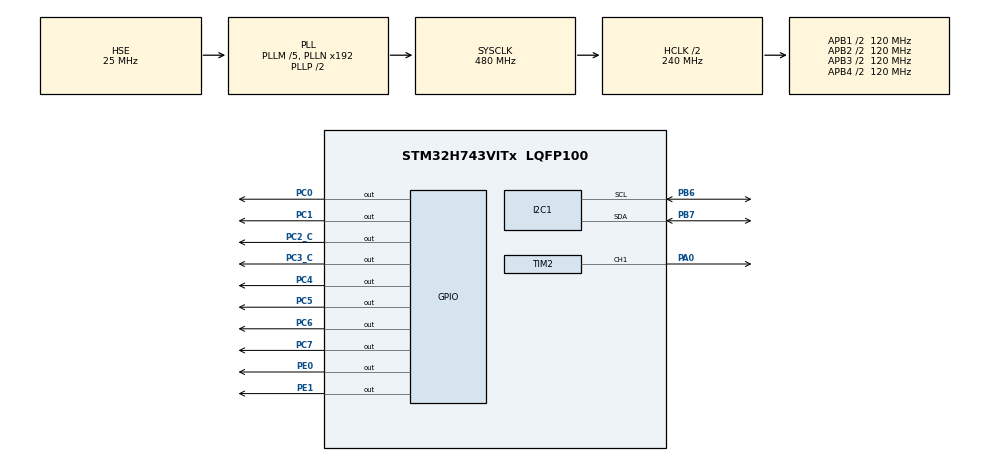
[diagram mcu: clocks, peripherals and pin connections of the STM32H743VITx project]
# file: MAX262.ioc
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CORTEX_M7.default_mode_Activation=1
I2C1.Timing=0x307075B1
Mcu.Family=STM32H7
Mcu.Name=STM32H743VITx
Mcu.Package=LQFP100
NVIC.PriorityGroup=NVIC_PRIORITYGROUP_4
PA0.Signal=S_TIM2_CH1_ETR
PA13\ (JTMS/SWDIO).Mode=Serial_Wire
PA13\ (JTMS/SWDIO).Signal=DEBUG_JTMS-SWDIO
PA14\ (JTCK/SWCLK).Mode=Serial_Wire
PA14\ (JTCK/SWCLK).Signal=DEBUG_JTCK-SWCLK
PB6.GPIO_Pu=GPIO_PULLUP
PB6.GPIO_Speed=GPIO_SPEED_FREQ_VERY_HIGH
PB6.Mode=I2C
PB6.Signal=I2C1_SCL
PB7.GPIO_Pu=GPIO_PULLUP
PB7.GPIO_Speed=GPIO_SPEED_FREQ_VERY_HIGH
PB7.Mode=I2C
PB7.Signal=I2C1_SDA
PC0.GPIO_Speed=GPIO_SPEED_FREQ_HIGH
PC0.Signal=GPIO_Output
PC1.GPIO_Speed=GPIO_SPEED_FREQ_HIGH
PC1.Signal=GPIO_Output
PC14-OSC32_IN\ (OSC32_IN).Mode=LSE-External-Oscillator
PC14-OSC32_IN\ (OSC32_IN).Signal=RCC_OSC32_IN
PC15-OSC32_OUT\ (OSC32_OUT).Mode=LSE-External-Oscillator
PC15-OSC32_OUT\ (OSC32_OUT).Signal=RCC_OSC32_OUT
PC2_C.GPIO_Speed=GPIO_SPEED_FREQ_HIGH
PC2_C.Signal=GPIO_Output
PC3_C.GPIO_Speed=GPIO_SPEED_FREQ_HIGH
PC3_C.Signal=GPIO_Output
PC4.GPIO_Speed=GPIO_SPEED_FREQ_HIGH
PC4.Signal=GPIO_Output
PC5.GPIO_Speed=GPIO_SPEED_FREQ_HIGH
PC5.Signal=GPIO_Output
PC6.GPIO_Speed=GPIO_SPEED_FREQ_HIGH
PC6.Signal=GPIO_Output
PC7.GPIO_Speed=GPIO_SPEED_FREQ_HIGH
PC7.Signal=GPIO_Output
PE0.Signal=GPIO_Output
PE1.Signal=GPIO_Output
PH0-OSC_IN\ (PH0).Mode=HSE-External-Oscillator
PH0-OSC_IN\ (PH0).Signal=RCC_OSC_IN
PH1-OSC_OUT\ (PH1).Mode=HSE-External-Oscillator
PH1-OSC_OUT\ (PH1).Signal=RCC_OSC_OUT
ProjectManager.HeapSize=0x200
ProjectManager.StackSize=0x400
ProjectManager.TargetToolchain=MDK-ARM V5.32
RCC.ADCFreq_Value=50390625
RCC.APB1Freq_Value=120000000
RCC.APB2Freq_Value=120000000
RCC.APB3Freq_Value=120000000
RCC.APB4Freq_Value=120000000
RCC.CortexFreq_Value=480000000
RCC.D1PPRE=RCC_APB3_DIV2
RCC.D2PPRE1=RCC_APB1_DIV2
RCC.D2PPRE2=RCC_APB2_DIV2
RCC.D3PPRE=RCC_APB4_DIV2
RCC.DIVM1=5
RCC.DIVN1=192
RCC.HCLKFreq_Value=240000000
RCC.HPRE=RCC_HCLK_DIV2
RCC.PLL2FRACN=0
RCC.PLL3FRACN=0
RCC.PLLFRACN=0
RCC.PLLSourceVirtual=RCC_PLLSOURCE_HSE
RCC.SYSCLKFreq_VALUE=480000000
RCC.SYSCLKSource=RCC_SYSCLKSOURCE_PLLCLK
RCC.USBFreq_Value=480000000
SH.S_TIM2_CH1_ETR.0=TIM2_CH1,PWM Generation1 CH1
TIM2.AutoReloadPreload=TIM_AUTORELOAD_PRELOAD_ENABLE
TIM2.Channel-PWM\ Generation1\ CH1=TIM_CHANNEL_1
TIM2.Period=1000-1
TIM2.Prescaler=240-1
TIM2.Pulse-PWM\ Generation1\ CH1=500
TIM2.TIM_MasterOutputTrigger=TIM_TRGO_UPDATE
VP_MEMORYMAP_VS_MEMORYMAP.Mode=CurAppReg
VP_TIM2_VS_ClockSourceINT.Mode=Internal
board=custom

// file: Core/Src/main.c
/* USER CODE BEGIN Header */
/**
  ******************************************************************************
  * @file           : main.c
  * @brief          : Main program body
  ******************************************************************************
  * @attention
  *
  * Copyright (c) 2026 STMicroelectronics.
  * All rights reserved.
  *
  * This software is licensed under terms that can be found in the LICENSE file
  * in the root directory of this software component.
  * If no LICENSE file comes with this software, it is provided AS-IS.
  *
  ******************************************************************************
  */
/* USER CODE END Header */
#include "main.h"
#include "i2c.h"
#include "tim.h"
#include "gpio.h"

/* USER CODE BEGIN Includes */
#include "si5351.h"
/* USER CODE END Includes */

/* USER CODE BEGIN PD */
/* SI5351 硬件控制引脚 (OEB/SSEN)
 * OEB  = PE0, 输出使能 (LOW 有效)
 * SSEN = PE1, 扩频使能 (LOW 禁用扩频) */
#define SI5351_OEB_PORT   GPIOE
#define SI5351_OEB_PIN    GPIO_PIN_0
#define SI5351_SSEN_PORT  GPIOE
#define SI5351_SSEN_PIN   GPIO_PIN_1

#define SI5351_OEB_LOW()   HAL_GPIO_WritePin(SI5351_OEB_PORT,  SI5351_OEB_PIN,  GPIO_PIN_RESET)
#define SI5351_SSEN_LOW()  HAL_GPIO_WritePin(SI5351_SSEN_PORT, SI5351_SSEN_PIN, GPIO_PIN_RESET)
/* USER CODE END PD */

/* USER CODE BEGIN PV */

/* I2C 调试变量 — 在此处设断点查看 */
static uint8_t  i2c_found_devices[16];
static uint8_t  i2c_found_count;
static HAL_StatusTypeDef i2c_last_error;
static uint8_t  i2c_tested_addr;

/* SI5351 状态调试变量 */
static uint8_t  si5351_reg00;   /* reg 0x00: [7]=SYS_INIT, [5]=LOL_A, [3:0]=REVID */
static uint8_t  si5351_reg03;   /* reg 0x03: OE 回读 */
static uint8_t  si5351_pll_locked;  /* 1=锁定, 0=失锁 */

/* 寄存器回读验证 (确认 I2C 写入是否真的生效) */
static uint8_t  si5351_r16;     /* CLK0 控制寄存器 (期望值见 _write_clk_ctrl) */
static uint8_t  si5351_r42;     /* MS0_P3[15:8] (期望 0x00) */
static uint8_t  si5351_r43;     /* MS0_P3[7:0]  (期望 0x01) */
static uint8_t  si5351_r44;     /* MS0: R-div|P1[17:16] (期望 0x00) */
static uint8_t  si5351_r45;     /* MS0_P1[15:8] (期望 0x01) */
static uint8_t  si5351_r46;     /* MS0_P1[7:0]  (期望 0x00) */
static uint8_t  si5351_r26;     /* PLLA_P3[15:8] (期望 0x00) */
static uint8_t  si5351_r29;     /* PLLA_P1[15:8] (期望 0x0A) */

/* USER CODE END PV */

void SystemClock_Config(void);
static void MPU_Config(void);
/* USER CODE BEGIN PFP */
static void SI5351_HW_Init(void);
static uint8_t I2C_ScanBus(void);
/* USER CODE END PFP */

int main(void)
{

  /* MPU Configuration--------------------------------------------------------*/
  MPU_Config();

  /* MCU Configuration--------------------------------------------------------*/

  /* Reset of all peripherals, Initializes the Flash interface and the Systick. */
  HAL_Init();

  /* Configure the system clock */
  SystemClock_Config();

  /* Initialize all configured peripherals */
  MX_GPIO_Init();
  MX_TIM2_Init();
  MX_I2C1_Init();
  /* USER CODE BEGIN 2 */

  /* ── SI5351 硬件引脚初始化 ── */
  SI5351_HW_Init();

  /* ── I2C 总线扫描, 查找 SI5351 ──
   * 调试: 若在此处设断点, 查看 i2c_found_count / i2c_found_devices[]
   *       以及 i2c_last_error / i2c_tested_addr 排查 I2C 通信问题 */
  uint8_t si5351_dev_addr = I2C_ScanBus();
  if (si5351_dev_addr == 0) {
      /* 扫描未找到设备 — 可能原因:
       * 1. I2C 总线 SCL/SDA 没有上拉电阻 (需 4.7kΩ 到 3.3V)
       * 2. SI5351 模块未供电或 OEB/SSEN 引脚接错
       * 3. SCL/SDA 引脚接反
       * 4. I2C 时序配置有问题
       *
       * 先用默认地址 0x60 尝试, 同时在此处设断点查看调试变量 */
      si5351_dev_addr = 0x64;
  }

  /* ── SI5351 I2C 驱动初始化 ── */
  si5351_set_addr(si5351_dev_addr);
  si5351_init(&hi2c1);

  /* ── 配置 PLL VCO = 600MHz ──
   * SI5351B 只有一个 PLL (PLLA), 所有 8 路输出共用此 VCO
   */
  si5351_pll_config(600000000);

  /* 等待 PLL 锁定 (至少 10ms) */
  HAL_Delay(50);

  /* 回读 reg 0x00 检查 PLL 锁定和设备 ID:
   * [7]=SYS_INIT(1=初始化中), [5]=LOL_A(1=失锁), [3:0]=REVID */
  HAL_I2C_Mem_Read(&hi2c1, (uint16_t)(si5351_dev_addr << 1), 0x00,
                   I2C_MEMADD_SIZE_8BIT, &si5351_reg00, 1, HAL_MAX_DELAY);
  si5351_pll_locked = ((si5351_reg00 & 0x20) == 0) ? 1 : 0;

  /* ── 配置 8 路时钟输出 ──
   * CLK0~5: 支持分数 MultiSynth, 范围 2.5kHz~200MHz
   * CLK6~7: 仅整数分频, 范围 28kHz~200MHz
   *
   * VCO=600MHz 时各通道频率配置:
   */
  si5351_clk_config(0, 2000000, SI5351_DRIVE_8MA);  /* 100 MHz */
  si5351_clk_config(1,  50000000, SI5351_DRIVE_8MA);  /*  50 MHz */
  si5351_clk_config(2,  25000000, SI5351_DRIVE_8MA);  /*  25 MHz */
  si5351_clk_config(3,  10000000, SI5351_DRIVE_8MA);  /*  10 MHz */
  si5351_clk_config(4,   5000000, SI5351_DRIVE_8MA);  /*   5 MHz */
  si5351_clk_config(5,   1000000, SI5351_DRIVE_8MA);  /*   1 MHz */
  si5351_clk_config(6,  10000000, SI5351_DRIVE_8MA);  /*  10 MHz (整数分频) */
  si5351_clk_config(7,     28000, SI5351_DRIVE_4MA);  /*  28 kHz (整数分频) */

  /* 输出使能由 OEB 硬件引脚控制, 不写 reg 0x03 (与参考驱动一致) */

  /* 等待 PLL 稳定 */
  HAL_Delay(50);

  /* 回读验证 */
  HAL_I2C_Mem_Read(&hi2c1, (uint16_t)(si5351_dev_addr << 1), 0x03,
                   I2C_MEMADD_SIZE_8BIT, &si5351_reg03, 1, HAL_MAX_DELAY);
  HAL_I2C_Mem_Read(&hi2c1, (uint16_t)(si5351_dev_addr << 1), 0x00,
                   I2C_MEMADD_SIZE_8BIT, &si5351_reg00, 1, HAL_MAX_DELAY);
  si5351_pll_locked = ((si5351_reg00 & 0x20) == 0) ? 1 : 0;

  /* 回读关键寄存器, 确认 I2C 写入确实生效 */
  HAL_I2C_Mem_Read(&hi2c1, (uint16_t)(si5351_dev_addr << 1), 16,
                   I2C_MEMADD_SIZE_8BIT, &si5351_r16, 1, HAL_MAX_DELAY);
  HAL_I2C_Mem_Read(&hi2c1, (uint16_t)(si5351_dev_addr << 1), 42,
                   I2C_MEMADD_SIZE_8BIT, &si5351_r42, 1, HAL_MAX_DELAY);
  HAL_I2C_Mem_Read(&hi2c1, (uint16_t)(si5351_dev_addr << 1), 43,
                   I2C_MEMADD_SIZE_8BIT, &si5351_r43, 1, HAL_MAX_DELAY);
  HAL_I2C_Mem_Read(&hi2c1, (uint16_t)(si5351_dev_addr << 1), 44,
                   I2C_MEMADD_SIZE_8BIT, &si5351_r44, 1, HAL_MAX_DELAY);
  HAL_I2C_Mem_Read(&hi2c1, (uint16_t)(si5351_dev_addr << 1), 45,
                   I2C_MEMADD_SIZE_8BIT, &si5351_r45, 1, HAL_MAX_DELAY);
  HAL_I2C_Mem_Read(&hi2c1, (uint16_t)(si5351_dev_addr << 1), 46,
                   I2C_MEMADD_SIZE_8BIT, &si5351_r46, 1, HAL_MAX_DELAY);
  HAL_I2C_Mem_Read(&hi2c1, (uint16_t)(si5351_dev_addr << 1), 26,
                   I2C_MEMADD_SIZE_8BIT, &si5351_r26, 1, HAL_MAX_DELAY);
  HAL_I2C_Mem_Read(&hi2c1, (uint16_t)(si5351_dev_addr << 1), 29,
                   I2C_MEMADD_SIZE_8BIT, &si5351_r29, 1, HAL_MAX_DELAY);

  /* USER CODE END 2 */

  /* Infinite loop */
  while (1)
  {

  }
}

void SystemClock_Config(void)
{
  RCC_OscInitTypeDef RCC_OscInitStruct = {0};
  RCC_ClkInitTypeDef RCC_ClkInitStruct = {0};

  /** Supply configuration update enable
  */
  HAL_PWREx_ConfigSupply(PWR_LDO_SUPPLY);

  /** Configure the main internal regulator output voltage
  */
  __HAL_PWR_VOLTAGESCALING_CONFIG(PWR_REGULATOR_VOLTAGE_SCALE0);

  while(!__HAL_PWR_GET_FLAG(PWR_FLAG_VOSRDY)) {}

  /** Initializes the RCC Oscillators according to the specified parameters
  * in the RCC_OscInitTypeDef structure.
  */
  RCC_OscInitStruct.OscillatorType = RCC_OSCILLATORTYPE_HSE;
  RCC_OscInitStruct.HSEState = RCC_HSE_ON;
  RCC_OscInitStruct.PLL.PLLState = RCC_PLL_ON;
  RCC_OscInitStruct.PLL.PLLSource = RCC_PLLSOURCE_HSE;
  RCC_OscInitStruct.PLL.PLLM = 5;
  RCC_OscInitStruct.PLL.PLLN = 192;
  RCC_OscInitStruct.PLL.PLLP = 2;
  RCC_OscInitStruct.PLL.PLLQ = 2;
  RCC_OscInitStruct.PLL.PLLR = 2;
  RCC_OscInitStruct.PLL.PLLRGE = RCC_PLL1VCIRANGE_2;
  RCC_OscInitStruct.PLL.PLLVCOSEL = RCC_PLL1VCOWIDE;
  RCC_OscInitStruct.PLL.PLLFRACN = 0;
  if (HAL_RCC_OscConfig(&RCC_OscInitStruct) != HAL_OK)
  {
    Error_Handler();
  }

  /** Initializes the CPU, AHB and APB buses clocks
  */
  RCC_ClkInitStruct.ClockType = RCC_CLOCKTYPE_HCLK|RCC_CLOCKTYPE_SYSCLK
                              |RCC_CLOCKTYPE_PCLK1|RCC_CLOCKTYPE_PCLK2
                              |RCC_CLOCKTYPE_D3PCLK1|RCC_CLOCKTYPE_D1PCLK1;
  RCC_ClkInitStruct.SYSCLKSource = RCC_SYSCLKSOURCE_PLLCLK;
  RCC_ClkInitStruct.SYSCLKDivider = RCC_SYSCLK_DIV1;
  RCC_ClkInitStruct.AHBCLKDivider = RCC_HCLK_DIV2;
  RCC_ClkInitStruct.APB3CLKDivider = RCC_APB3_DIV2;
  RCC_ClkInitStruct.APB1CLKDivider = RCC_APB1_DIV2;
  RCC_ClkInitStruct.APB2CLKDivider = RCC_APB2_DIV2;
  RCC_ClkInitStruct.APB4CLKDivider = RCC_APB4_DIV2;

  if (HAL_RCC_ClockConfig(&RCC_ClkInitStruct, FLASH_LATENCY_4) != HAL_OK)
  {
    Error_Handler();
  }
}

/* USER CODE BEGIN 4 */

/* ── SI5351 硬件控制引脚初始化 ──
 * OEB (Output Enable Bar): 拉低使能全部输出
 * SSEN (Spread Spectrum Enable): 拉低禁用扩频
 *
 * 注意: 这两个引脚必须在 si5351_init() 之前初始化,
 *       否则即使 I2C 配置正确也没有时钟信号输出 */
static void SI5351_HW_Init(void) {
    GPIO_InitTypeDef GPIO_InitStruct = {0};

    /* 使能 GPIOE 时钟 (如果 CubeMX 尚未使能) */
    __HAL_RCC_GPIOE_CLK_ENABLE();

    /* OEB + SSEN: 推挽输出, 拉低 */
    GPIO_InitStruct.Pin   = SI5351_OEB_PIN | SI5351_SSEN_PIN;
    GPIO_InitStruct.Mode  = GPIO_MODE_OUTPUT_PP;
    GPIO_InitStruct.Pull  = GPIO_NOPULL;
    GPIO_InitStruct.Speed = GPIO_SPEED_FREQ_LOW;
    HAL_GPIO_Init(SI5351_OEB_PORT, &GPIO_InitStruct);

    /* 拉低: OEB=0 使能输出, SSEN=0 禁用扩频 */
    SI5351_OEB_LOW();
    SI5351_SSEN_LOW();

    /* 等待芯片上电稳定 (>300ms, 参考驱动) */
    HAL_Delay(300);
}

/* ── I2C 总线扫描 ──
 * 先尝试 SI5351 已知地址 (0x60/0x62), 再全量扫描 1~127
 * 返回 SI5351 地址, 未发现则返回 0
 * 调试变量 i2c_last_error / i2c_tested_addr 记录最后一次尝试的 HAL 返回值 */
static uint8_t I2C_ScanBus(void) {
    i2c_found_count = 0;

    /* 首先快速测试 SI5351 已知地址 */
    uint8_t known_addrs[] = {0x60, 0x62, 0x64};
    for (uint8_t i = 0; i < 3; i++) {
        i2c_tested_addr = known_addrs[i];
        i2c_last_error = HAL_I2C_IsDeviceReady(&hi2c1,
            (uint16_t)(known_addrs[i] << 1), 3, 10);
        if (i2c_last_error == HAL_OK) {
            i2c_found_devices[0] = known_addrs[i];
            i2c_found_count = 1;
            return known_addrs[i];
        }
    }

    /* 未找到已知地址, 全量扫描 */
    for (uint8_t addr = 1; addr < 128; addr++) {
        i2c_tested_addr = addr;
        i2c_last_error = HAL_I2C_IsDeviceReady(&hi2c1,
            (uint16_t)(addr << 1), 2, 5);
        if (i2c_last_error == HAL_OK) {
            if (i2c_found_count < 16) {
                i2c_found_devices[i2c_found_count++] = addr;
            }
        }
    }

    if (i2c_found_count > 0) return i2c_found_devices[0];
    return 0;
}

/* USER CODE END 4 */

 /* MPU Configuration */

void MPU_Config(void)
{
  MPU_Region_InitTypeDef MPU_InitStruct = {0};

  /* Disables the MPU */
  HAL_MPU_Disable();

  /** Initializes and configures the Region and the memory to be protected
  */
  MPU_InitStruct.Enable = MPU_REGION_ENABLE;
  MPU_InitStruct.Number = MPU_REGION_NUMBER0;
  MPU_InitStruct.BaseAddress = 0x0;
  MPU_InitStruct.Size = MPU_REGION_SIZE_4GB;
  MPU_InitStruct.SubRegionDisable = 0x87;
  MPU_InitStruct.TypeExtField = MPU_TEX_LEVEL0;
  MPU_InitStruct.AccessPermission = MPU_REGION_NO_ACCESS;
  MPU_InitStruct.DisableExec = MPU_INSTRUCTION_ACCESS_DISABLE;
  MPU_InitStruct.IsShareable = MPU_ACCESS_SHAREABLE;
  MPU_InitStruct.IsCacheable = MPU_ACCESS_NOT_CACHEABLE;
  MPU_InitStruct.IsBufferable = MPU_ACCESS_NOT_BUFFERABLE;

  HAL_MPU_ConfigRegion(&MPU_InitStruct);
  /* Enables the MPU */
  HAL_MPU_Enable(MPU_PRIVILEGED_DEFAULT);

}

void Error_Handler(void)
{
  __disable_irq();
  while (1)
  {
  }
}
